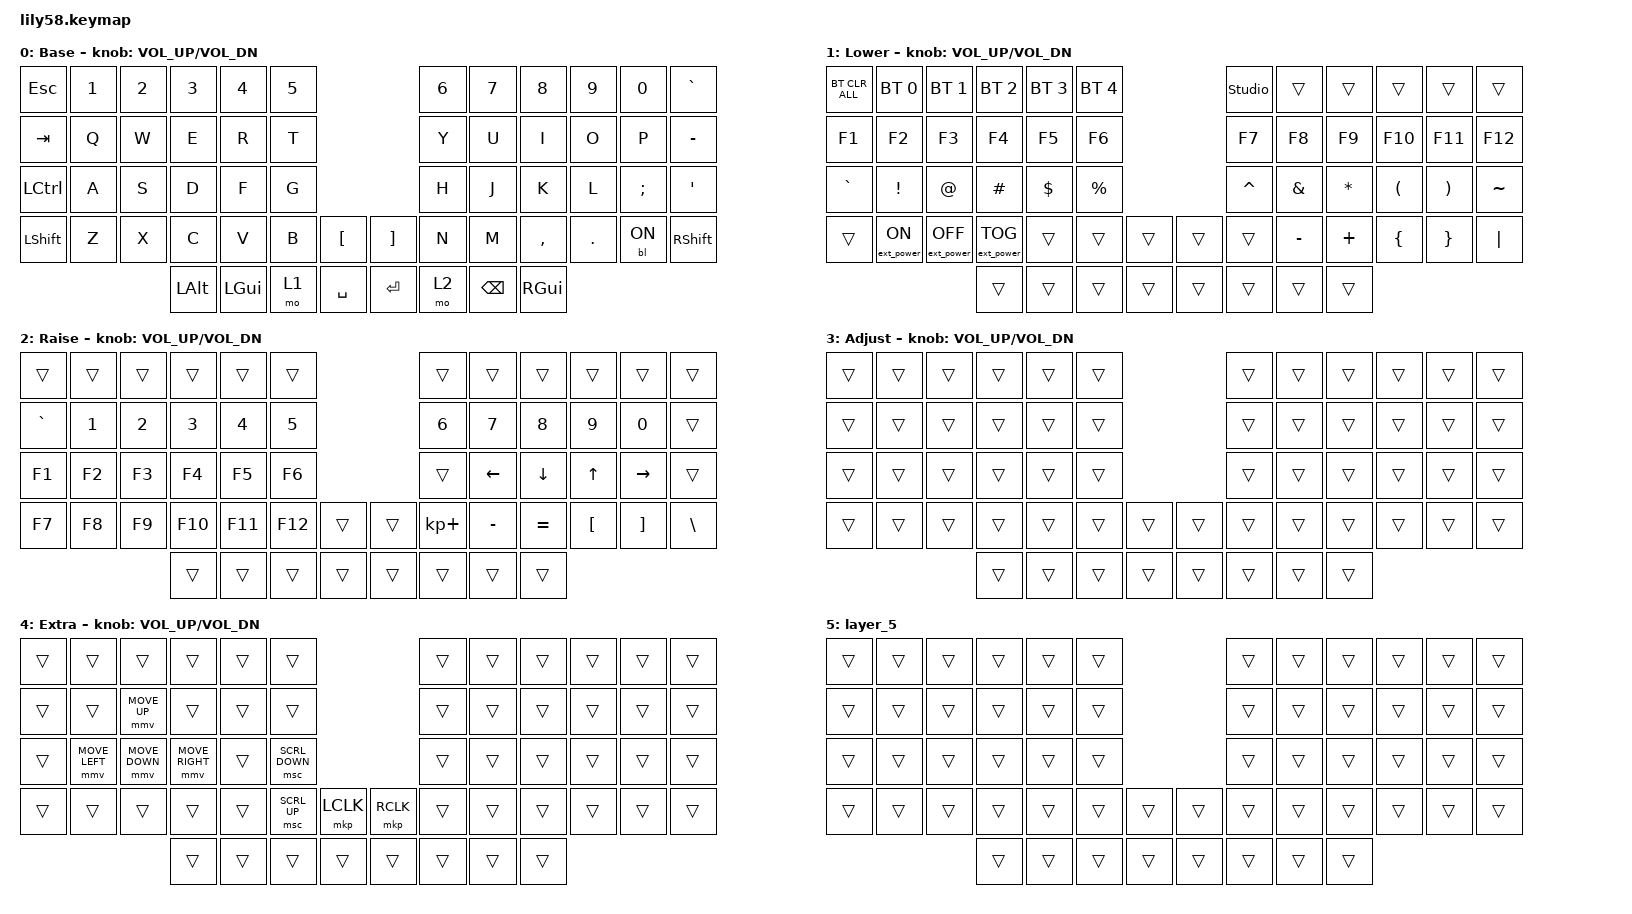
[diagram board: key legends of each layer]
/*
 * Copyright (c) 2020 The ZMK Contributors
 *
 * SPDX-License-Identifier: MIT
 */

#include <behaviors.dtsi>
#include <dt-bindings/zmk/backlight.h>
#include <dt-bindings/zmk/bt.h>
#include <dt-bindings/zmk/ext_power.h>
#include <dt-bindings/zmk/keys.h>
#include <dt-bindings/zmk/pointing.h>

#define default_layer 0
#define lower_layer 1
#define raise_layer 2
#define adjust_layer 3
#define extra_layer 4

/ {
    keymap {
        compatible = "zmk,keymap";

        silakka_layout {
            display-name = "Base";

            // ------------------------------------------------------------------------------------------------------------
            // |  ESC  |  1  |  2  |  3   |  4   |  5   |                   |  6   |  7    |  8    |  9   |   0   |   `   |
            // |  TAB  |  Q  |  W  |  E   |  R   |  T   |                   |  Y   |  U    |  I    |  O   |   P   |   -   |
            // |  CTRL |  A  |  S  |  D   |  F   |  G   |                   |  H   |  J    |  K    |  L   |   ;   |   '   |
            // | SHIFT |  Z  |  X  |  C   |  V   |  B   |   "["  |  |  "]"  |  N   |  M    |  ,    |  .   |   /   | SHIFT |
            //                     | ALT  | GUI  | LOWER|  SPACE |  | ENTER | RAISE| BSPC  | GUI   |

            bindings = <
&kp ESC    &kp N1  &kp N2  &kp N3    &kp N4    &kp N5                         &kp N6  &kp N7    &kp N8     &kp N9   &kp N0     &kp GRAVE
&kp TAB    &kp Q   &kp W   &kp E     &kp R     &kp T                          &kp Y   &kp U     &kp I      &kp O    &kp P      &kp MINUS
&kp LCTRL  &kp A   &kp S   &kp D     &kp F     &kp G                          &kp H   &kp J     &kp K      &kp L    &kp SEMI   &kp SQT
&kp LSHFT  &kp Z   &kp X   &kp C     &kp V     &kp B   &kp LBKT     &kp RBKT  &kp N   &kp M     &kp COMMA  &kp DOT  &bl BL_ON  &kp RSHFT
                           &kp LALT  &kp LGUI  &mo 1   &kp SPACE    &kp RET   &mo 2   &kp BSPC  &kp RGUI
            >;

            sensor-bindings = <&inc_dec_kp C_VOL_UP C_VOL_DN>;
        };

        lower_layer {
            display-name = "Lower";

            // ------------------------------------------------------------------------------------------------------------
            // | BTCLR | BT1 | BT2 |  BT3 |  BT4 |  BT5 |                   |      |       |       |      |       |       |
            // |  F1   |  F2 |  F3 |  F4  |  F5  |  F6  |                   |  F7  |  F8   |  F9   |  F10 |  F11  |  F12  |
            // |   `   |  !  |  @  |  #   |  $   |  %   |                   |  ^   |  &    |  *    |  (   |   )   |   ~   |
            // |       |     |     |      |      |      |        |  |       |      |  _    |  +    |  {   |   }   |  "|"  |
            //                     |      |      |      |        |  |       |      |       |       |

            bindings = <
&bt BT_CLR_ALL  &bt BT_SEL 0      &bt BT_SEL 1       &bt BT_SEL 2       &bt BT_SEL 3  &bt BT_SEL 4                    &studio_unlock  &trans     &trans     &trans    &trans    &trans
&kp F1          &kp F2            &kp F3             &kp F4             &kp F5        &kp F6                          &kp F7          &kp F8     &kp F9     &kp F10   &kp F11   &kp F12
&kp GRAVE       &kp EXCL          &kp AT             &kp HASH           &kp DOLLAR    &kp PRCNT                       &kp CARET       &kp AMPS   &kp ASTRK  &kp LPAR  &kp RPAR  &kp TILDE
&trans          &ext_power EP_ON  &ext_power EP_OFF  &ext_power EP_TOG  &trans        &trans        &trans    &trans  &trans          &kp MINUS  &kp PLUS   &kp LBRC  &kp RBRC  &kp PIPE
                                                     &trans             &trans        &trans        &trans    &trans  &trans          &trans     &trans
            >;

            sensor-bindings = <&inc_dec_kp C_VOL_UP C_VOL_DN>;
        };

        raise_layer {
            display-name = "Raise";

            // ------------------------------------------------------------------------------------------------------------
            // |       |     |     |      |      |      |                   |      |       |       |      |       |       |
            // |   `   |  1  |  2  |  3   |  4   |  5   |                   |  6   |   7   |   8   |  9   |   0   |       |
            // |   F1  |  F2 |  F3 |  F4  |  F5  |  F6  |                   |      |   <-  |   v   |  ^   |  ->   |       |
            // |   F7  |  F8 |  F9 |  F10 |  F11 |  F12 |        |  |       |  +   |   -   |   =   |  [   |   ]   |   \   |
            //                     |      |      |      |        |  |       |      |       |       |

            bindings = <
&trans     &trans  &trans  &trans   &trans   &trans                     &trans       &trans     &trans     &trans    &trans     &trans
&kp GRAVE  &kp N1  &kp N2  &kp N3   &kp N4   &kp N5                     &kp N6       &kp N7     &kp N8     &kp N9    &kp N0     &trans
&kp F1     &kp F2  &kp F3  &kp F4   &kp F5   &kp F6                     &trans       &kp LEFT   &kp DOWN   &kp UP    &kp RIGHT  &trans
&kp F7     &kp F8  &kp F9  &kp F10  &kp F11  &kp F12  &trans    &trans  &kp KP_PLUS  &kp MINUS  &kp EQUAL  &kp LBKT  &kp RBKT   &kp BSLH
                           &trans   &trans   &trans   &trans    &trans  &trans       &trans     &trans
            >;

            sensor-bindings = <&inc_dec_kp C_VOL_UP C_VOL_DN>;
        };

        adjust_layer {
            display-name = "Adjust";

            // ------------------------------------------------------------------------------------------------------------
            // |       |     |     |      |      |      |                   |      |       |       |      |       |       |
            // |   `   |  1  |  2  |  3   |  4   |  5   |                   |  6   |   7   |   8   |  9   |   0   |       |
            // |   F1  |  F2 |  F3 |  F4  |  F5  |  F6  |                   |      |   <-  |   v   |  ^   |  ->   |       |
            // |   F7  |  F8 |  F9 |  F10 |  F11 |  F12 |        |  |       |  +   |   -   |   =   |  [   |   ]   |   \   |
            //                     |      |      |      |        |  |       |      |       |       |

            bindings = <
&trans  &trans  &trans  &trans  &trans  &trans                    &trans  &trans  &trans  &trans  &trans  &trans
&trans  &trans  &trans  &trans  &trans  &trans                    &trans  &trans  &trans  &trans  &trans  &trans
&trans  &trans  &trans  &trans  &trans  &trans                    &trans  &trans  &trans  &trans  &trans  &trans
&trans  &trans  &trans  &trans  &trans  &trans  &trans    &trans  &trans  &trans  &trans  &trans  &trans  &trans
                        &trans  &trans  &trans  &trans    &trans  &trans  &trans  &trans
            >;

            sensor-bindings = <&inc_dec_kp C_VOL_UP C_VOL_DN>;
        };

        extra_layer {
            display-name = "Extra";

            // ------------------------------------------------------------------------------------------------------------
            // |       |     |     |      |      |      |                   |      |       |       |      |       |       |
            // |   `   |  1  |  2  |  3   |  4   |  5   |                   |  6   |   7   |   8   |  9   |   0   |       |
            // |   F1  |  F2 |  F3 |  F4  |  F5  |  F6  |                   |      |   <-  |   v   |  ^   |  ->   |       |
            // |   F7  |  F8 |  F9 |  F10 |  F11 |  F12 |        |  |       |  +   |   -   |   =   |  [   |   ]   |   \   |
            //                     |      |      |      |        |  |       |      |       |       |

            bindings = <
&trans  &trans          &trans          &trans           &trans  &trans                                  &trans  &trans  &trans  &trans  &trans  &trans
&trans  &trans          &mmv MOVE_UP    &trans           &trans  &trans                                  &trans  &trans  &trans  &trans  &trans  &trans
&trans  &mmv MOVE_LEFT  &mmv MOVE_DOWN  &mmv MOVE_RIGHT  &trans  &msc SCRL_DOWN                          &trans  &trans  &trans  &trans  &trans  &trans
&trans  &trans          &trans          &trans           &trans  &msc SCRL_UP    &mkp LCLK    &mkp RCLK  &trans  &trans  &trans  &trans  &trans  &trans
                                        &trans           &trans  &trans          &trans       &trans     &trans  &trans  &trans
            >;

            sensor-bindings = <&inc_dec_kp C_VOL_UP C_VOL_DN>;
        };

        layer_5 {
            bindings = <
&trans  &trans  &trans  &trans  &trans  &trans                    &trans  &trans  &trans  &trans  &trans  &trans
&trans  &trans  &trans  &trans  &trans  &trans                    &trans  &trans  &trans  &trans  &trans  &trans
&trans  &trans  &trans  &trans  &trans  &trans                    &trans  &trans  &trans  &trans  &trans  &trans
&trans  &trans  &trans  &trans  &trans  &trans  &trans    &trans  &trans  &trans  &trans  &trans  &trans  &trans
                        &trans  &trans  &trans  &trans    &trans  &trans  &trans  &trans
            >;
        };
    };
};
